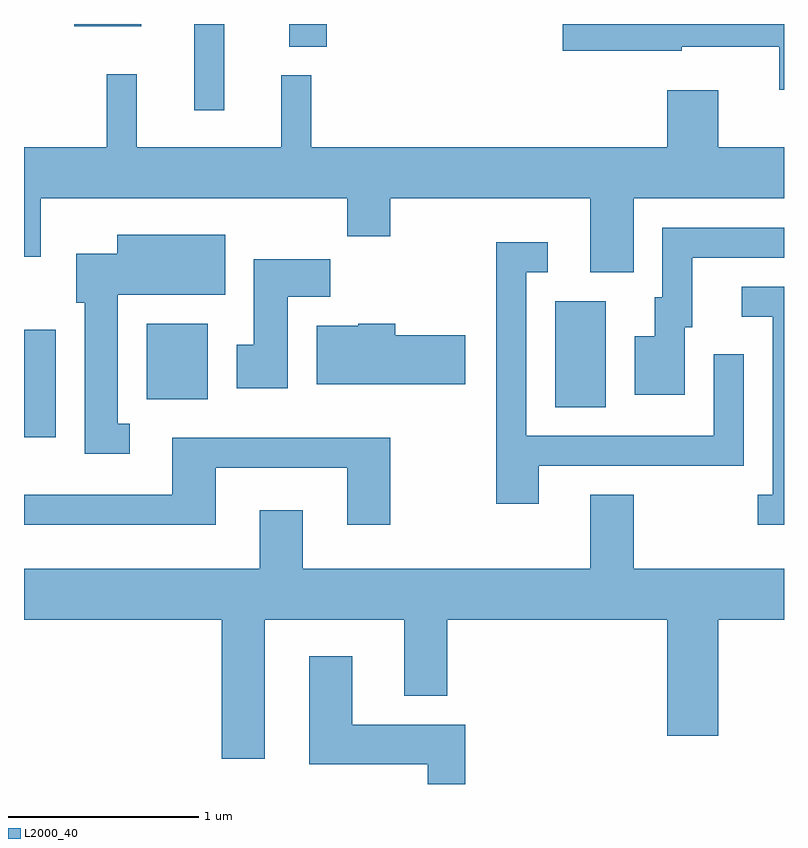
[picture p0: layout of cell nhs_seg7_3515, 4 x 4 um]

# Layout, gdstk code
import gdstk
lib = gdstk.Library(unit=1e-6, precision=1e-09)
def R(c, l, rs):  # rectangles x0, y0, x1, y1
    for r in rs: c.add(gdstk.rectangle(r[:2], r[2:], *l))
def P(c, l, *ps):  # polygons
    for p in ps: c.add(gdstk.Polygon(p, *l))
L2000_40 = (2000, 40)

nhs_seg7_3515 = lib.new_cell('nhs_seg7_3515')
R(nhs_seg7_3515, L2000_40, [(291.611,1804.076,291.779,1804.644), (294.406,1804.236,294.674,1804.794), (292.256,1804.276,292.579,1804.674), (292.506,1805.798,292.664,1806.252), (293.006,1806.131,293.204,1806.252), (291.876,1806.241,292.229,1806.252)])
P(nhs_seg7_3515, L2000_40, [(295.611,1806.252),(294.446,1806.252),(294.446,1806.111),(295.074,1806.111),(295.074,1806.131),(295.586,1806.131),(295.586,1805.906),(295.611,1805.906)],
  [(293.124,1805.983),(292.966,1805.983),(292.966,1805.604),(292.204,1805.604),(292.204,1805.988),(292.046,1805.988),(292.046,1805.604),(291.611,1805.604),(291.611,1805.026),(291.699,1805.026),(291.699,1805.336),(293.311,1805.336),(293.311,1805.136),(293.539,1805.136),(293.539,1805.336),(294.591,1805.336),(294.591,1804.946),(294.819,1804.946),(294.819,1805.336),(295.611,1805.336),(295.611,1805.604),(295.264,1805.604),(295.264,1805.904),(294.996,1805.904),(294.996,1805.604),(293.124,1805.604)],
  [(295.089,1804.656),(295.129,1804.656),(295.129,1805.021),(295.611,1805.021),(295.611,1805.179),(294.971,1805.179),(294.971,1804.814),(294.931,1804.814),(294.931,1804.609),(294.826,1804.609),(294.826,1804.301),(295.089,1804.301)],
  [(292.168,1804.149),(292.104,1804.149),(292.104,1804.826),(292.669,1804.826),(292.669,1805.144),(292.101,1805.144),(292.101,1805.044),(291.886,1805.044),(291.886,1804.786),(291.931,1804.786),(291.931,1803.991),(292.168,1803.991)],
  [(294.319,1803.926),(295.399,1803.926),(295.399,1804.513),(295.241,1804.513),(295.241,1804.084),(294.254,1804.084),(294.254,1804.946),(294.368,1804.946),(294.368,1805.104),(294.096,1805.104),(294.096,1803.726),(294.319,1803.726)],
  [(292.999,1804.816),(293.224,1804.816),(293.224,1805.014),(292.821,1805.014),(292.821,1804.564),(292.731,1804.564),(292.731,1804.336),(292.999,1804.336)],
  [(295.611,1804.869),(295.388,1804.869),(295.388,1804.711),(295.551,1804.711),(295.551,1803.774),(295.473,1803.774),(295.473,1803.616),(295.611,1803.616)],
  [(293.934,1804.614),(293.564,1804.614),(293.564,1804.674),(293.37,1804.674),(293.37,1804.664),(293.151,1804.664),(293.151,1804.356),(293.934,1804.356)],
  [(292.619,1803.916),(293.311,1803.916),(293.311,1803.616),(293.539,1803.616),(293.539,1804.074),(292.391,1804.074),(292.391,1803.774),(291.611,1803.774),(291.611,1803.616),(292.619,1803.616)],
  [(294.819,1803.774),(294.591,1803.774),(294.591,1803.384),(293.079,1803.384),(293.079,1803.694),(292.851,1803.694),(292.851,1803.384),(291.611,1803.384),(291.611,1803.116),(292.651,1803.116),(292.651,1802.386),(292.879,1802.386),(292.879,1803.116),(293.611,1803.116),(293.611,1802.716),(293.839,1802.716),(293.839,1803.116),(294.996,1803.116),(294.996,1802.506),(295.264,1802.506),(295.264,1803.116),(295.611,1803.116),(295.611,1803.384),(294.819,1803.384)],
  [(293.934,1802.564),(293.339,1802.564),(293.339,1802.924),(293.111,1802.924),(293.111,1802.356),(293.736,1802.356),(293.736,1802.252),(293.934,1802.252)])

lib.write_gds('nhs_seg7_3515.gds')
